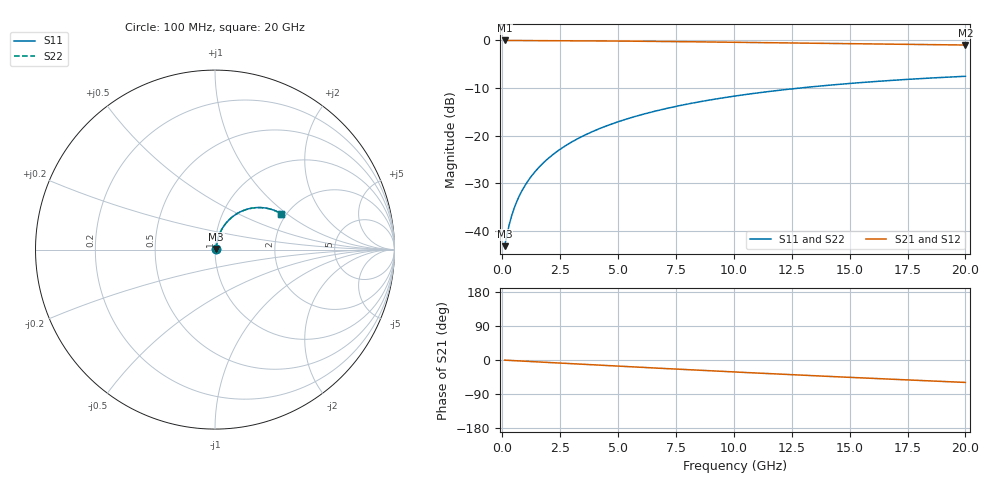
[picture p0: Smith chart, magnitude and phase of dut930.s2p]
! Touchstone file exported from HFSS 2026.1.0
!  File:  C:/ffzhzh/LocalFiles/Ansys_Project_Files/temp_train_TMRDL_930_1783158334_51560.aedt
!  Generated:  05:46:57 PM Jul  4, 2026
!  Design:  TMRDL
!  Project:  temp_train_TMRDL_930_1783158334_51560
! Variables:
!  h_bsmrdl = 2um
!  h_ox = 20um
!  h_rdl = 5um
!  h_sub = 80um
!  h_tmrdl = 3.05um
!  h_tsv = 80um
!  h_via = 3um
!  l_bsmrdl = 300um
!  l_sub = 1366.38um
!  l_tmrdl = 966.38um
!  m_sub = 200um
!  pitch = 36.09um
!  r_tsv = 6um
!  s_tmrdl = 10um
!  w_bsmrdl = 18um
!  w_sub = 500um
!  w_tmrdl = 18.81um
!  x_tsv_center1 = 975.785um
!  x_tsv_center2 = 1293.785um
!  x_tsv_center3 = 2278.975um
!  x_tsv_center4 = 2596.975um
!  x_tsv_center5 = 3582.165um
!  x_tsv_center6 = 3900.165um
# GHz S MA R 50.000000
! Terminal data exported
! Port[1] = TM_RDL1_1_T1
! Port[2] = TM_RDL1_1_T2
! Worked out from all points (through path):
!   200 points, 100 MHz to 20 GHz, reference 50 ohm
!   highest |S21| = -0.05 dB at 100 MHz (marker M1); lowest = -1.0 dB at 20 GHz (marker M2)
!   group delay of S21, straight-line fit = 8.22 ps
!   lowest |S11| = -43.2 dB at 100 MHz (marker M3), VSWR 1.01, Z = 50.6 + j0.33 ohm
!   |S11| at or under -10 dB: start of sweep to 12.91 GHz
!   |S22| runs from -43.2 to -7.6 dB; largest |S21 - S12| = 4.9e-15
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0.1  0.006923 28.1  0.9939 -0.4  0.9939 -0.4  0.006923 28.1
! Gamma 0 0 0 0
! Port Impedance 50 0 50 0
0.3  0.01163 54.3  0.9933 -1.0  0.9933 -1.0  0.01163 54.3
0.4  0.0143 59.8  0.993 -1.4  0.993 -1.4  0.0143 59.8
0.5  0.01698 63.4  0.9927 -1.7  0.9927 -1.7  0.01698 63.4
0.6  0.01966 66.0  0.9925 -2.0  0.9925 -2.0  0.01966 66.0
0.8  0.02504 69.5  0.9921 -2.7  0.9921 -2.7  0.02504 69.5
1  0.03047 71.7  0.9917 -3.3  0.9917 -3.3  0.03047 71.7
1.2  0.03593 73.1  0.9914 -4.0  0.9914 -4.0  0.03594 73.1
1.4  0.04144 74.1  0.991 -4.6  0.991 -4.6  0.04144 74.1
1.7  0.04973 74.8  0.9905 -5.6  0.9905 -5.6  0.04973 74.8
2.2  0.06359 75.1  0.9894 -7.2  0.9894 -7.2  0.06359 75.0
2.8  0.08019 74.5  0.9879 -9.1  0.9879 -9.1  0.08019 74.5
3.5  0.09937 73.2  0.9857 -11.4  0.9857 -11.4  0.09937 73.2
4.2  0.1183 71.6  0.9832 -13.6  0.9832 -13.6  0.1183 71.6
5  0.1395 69.6  0.9798 -16.2  0.9798 -16.2  0.1395 69.5
5.9  0.1627 67.1  0.9756 -19.0  0.9756 -19.0  0.1627 67.1
6.8  0.1852 64.6  0.9709 -21.8  0.9709 -21.8  0.1852 64.5
8.3  0.221 60.3  0.9622 -26.4  0.9622 -26.4  0.221 60.2
10.1  0.2609 55.1  0.951 -31.8  0.951 -31.8  0.2609 55.1
13.4  0.3251 45.9  0.9296 -41.3  0.9296 -41.3  0.325 45.9
16.7  0.3775 37.1  0.9088 -50.4  0.9088 -50.4  0.3775 37.0
20  0.4185 28.7  0.8905 -59.2  0.8905 -59.2  0.4185 28.5
